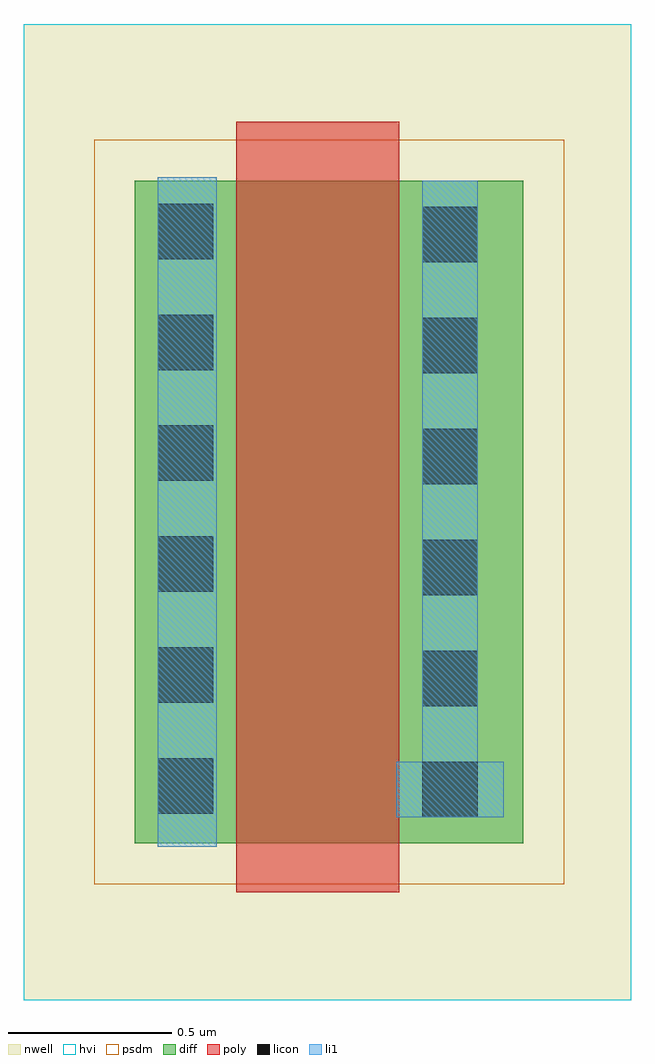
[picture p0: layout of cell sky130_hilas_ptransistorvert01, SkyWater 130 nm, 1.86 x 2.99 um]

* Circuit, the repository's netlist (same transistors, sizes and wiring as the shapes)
* Copyright 2020 The Hilas PDK Authors
* 
* This file is part of HILAS.
* 
* HILAS is free software: you can redistribute it and/or modify
* it under the terms of the GNU Lesser General Public License as published by
* the Free Software Foundation, version 3 of the License.
* 
* HILAS is distributed in the hope that it will be useful,
* but WITHOUT ANY WARRANTY; without even the implied warranty of
* MERCHANTABILITY or FITNESS FOR A PARTICULAR PURPOSE.  See the
* GNU Lesser General Public License for more details.
* 
* You should have received a copy of the GNU Lesser General Public License
* along with HILAS.  If not, see <https://www.gnu.org/licenses/>.
* 
* Licensed under the Lesser General Public License, Version 3.0 (the "License");
* you may not use this file except in compliance with the License.
* You may obtain a copy of the License at
* 
* https://www.gnu.org/licenses/lgpl-3.0.en.html
* 
* Unless required by applicable law or agreed to in writing, software
* distributed under the License is distributed on an "AS IS" BASIS,
* WITHOUT WARRANTIES OR CONDITIONS OF ANY KIND, either express or implied.
* See the License for the specific language governing permissions and
* limitations under the License.
* 
* SPDX-License-Identifier: LGPL-3.0
* 
* 

* NGSPICE file created from sky130_hilas_pTransistorVert01.ext - technology: sky130A


* Top level circuit sky130_hilas_pTransistorVert01

X0 a_n496_n792# a_n596_n822# a_n658_n792# w_n726_n888# sky130_fd_pr__pfet_g5v0d10v5 w=2.03e+06u l=500000u
.end

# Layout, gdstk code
import gdstk
lib = gdstk.Library(unit=1e-6, precision=1e-09)
def R(c, l, rs):  # rectangles x0, y0, x1, y1
    for r in rs: c.add(gdstk.rectangle(r[:2], r[2:], *l))
def A(c, l, x, y, w, h, nx, ny, dx, dy):  # array of equal rectangles
    R(c, l, [(x+i*dx, y+j*dy, x+i*dx+w, y+j*dy+h) for i in range(nx) for j in range(ny)])
nwell = (64, 20)
diff = (65, 20)
poly = (66, 20)
licon = (66, 44)
li1 = (67, 20)
hvi = (75, 20)
psdm = (94, 20)

sky130_hilas_ptransistor = lib.new_cell('sky130_hilas_ptransistorvert01')
R(sky130_hilas_ptransistor, nwell, [(-3.63,-4.44,-1.77,-1.45)])
R(sky130_hilas_ptransistor, diff, [(-3.29,-3.96,-2.1,-1.93)])
R(sky130_hilas_ptransistor, poly, [(-2.98,-4.11,-2.48,-1.75)])
A(sky130_hilas_ptransistor, licon, -2.41, -3.88, 0.17, 0.17, 1, 6, 0, 0.34)
A(sky130_hilas_ptransistor, licon, -3.22, -3.87, 0.17, 0.17, 1, 6, 0, 0.34)
R(sky130_hilas_ptransistor, li1, [(-3.22,-3.97,-3.04,-1.92), (-2.49,-3.88,-2.16,-3.71), (-2.41,-3.71,-2.24,-1.93)])
R(sky130_hilas_ptransistor, hvi, [(-3.63,-4.44,-1.77,-1.45)])
R(sky130_hilas_ptransistor, psdm, [(-3.415,-4.085,-1.975,-1.805)])

lib.write_gds('sky130_hilas_ptransistorvert01.gds')
